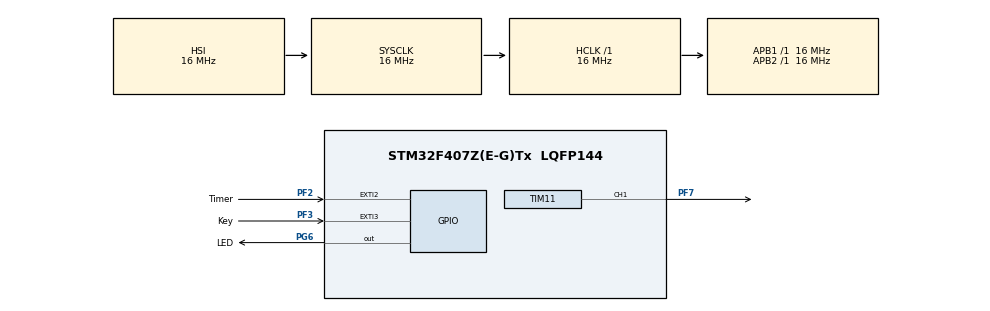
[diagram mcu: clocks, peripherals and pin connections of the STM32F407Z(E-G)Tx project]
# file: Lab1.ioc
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Mcu.Family=STM32F4
Mcu.Name=STM32F407Z(E-G)Tx
Mcu.Package=LQFP144
NVIC.EXTI2_IRQn=true\:0\:0\:false\:false\:true\:true\:true\:true
NVIC.EXTI3_IRQn=true\:0\:0\:false\:false\:true\:true\:true\:true
NVIC.PriorityGroup=NVIC_PRIORITYGROUP_4
NVIC.TIM6_DAC_IRQn=true\:0\:0\:false\:false\:true\:true\:true\:true
PF2.GPIO_Label=Timer
PF2.GPIO_ModeDefaultEXTI=GPIO_MODE_IT_RISING_FALLING
PF2.Signal=GPXTI2
PF3.GPIO_Label=Key
PF3.GPIO_ModeDefaultEXTI=GPIO_MODE_IT_RISING_FALLING
PF3.Signal=GPXTI3
PF7.Signal=S_TIM11_CH1
PG6.GPIO_Label=LED
PG6.Signal=GPIO_Output
ProjectManager.HeapSize=0x200
ProjectManager.StackSize=0x400
ProjectManager.TargetToolchain=STM32CubeIDE
RCC.48MHZClocksFreq_Value=32000000
RCC.AHBFreq_Value=16000000
RCC.APB1Freq_Value=16000000
RCC.APB1TimFreq_Value=16000000
RCC.APB2Freq_Value=16000000
RCC.APB2TimFreq_Value=16000000
RCC.CortexFreq_Value=16000000
RCC.HCLKFreq_Value=16000000
RCC.HSE_VALUE=25000000
RCC.HSI_VALUE=16000000
RCC.LSE_VALUE=32768
RCC.PLLM=8
RCC.PLLN=64
RCC.SYSCLKFreq_VALUE=16000000
RCC.VCOOutputFreq_Value=128000000
SH.S_TIM11_CH1.0=TIM11_CH1,PWM Generation1 CH1
TIM1.Period=0xFFFF
TIM1.Prescaler=15999
TIM11.Channel=TIM_CHANNEL_1
TIM11.Period=100
TIM11.Prescaler=359
TIM11.Pulse=0
TIM6.Period=999
TIM6.Prescaler=15999
TIM6.TIM_MasterOutputTrigger=TIM_TRGO_UPDATE
VP_TIM11_VS_ClockSourceINT.Mode=Enable_Timer
VP_TIM1_VS_ClockSourceINT.Mode=Internal
VP_TIM6_VS_ClockSourceINT.Mode=Enable_Timer
board=custom

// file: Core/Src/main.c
/* USER CODE BEGIN Header */
/**
  ******************************************************************************
  * @file           : main.c
  * @brief          : Main program body
  ******************************************************************************
  * @attention
  *
  * Copyright (c) 2023 STMicroelectronics.
  * All rights reserved.
  *
  * This software is licensed under terms that can be found in the LICENSE file
  * in the root directory of this software component.
  * If no LICENSE file comes with this software, it is provided AS-IS.
  *
  ******************************************************************************
  */
/* USER CODE END Header */
#include "main.h"

 TIM_HandleTypeDef htim1;
TIM_HandleTypeDef htim6;
TIM_HandleTypeDef htim11;

void SystemClock_Config(void);
static void MX_GPIO_Init(void);
static void MX_TIM1_Init(void);
static void MX_TIM6_Init(void);
static void MX_TIM11_Init(void);

/* USER CODE BEGIN 0 */
uint16_t period = 0;
uint16_t temp = 0;
/* USER CODE END 0 */

int main(void)
{

  /* MCU Configuration--------------------------------------------------------*/

  /* Reset of all peripherals, Initializes the Flash interface and the Systick. */
  HAL_Init();

  /* Configure the system clock */
  SystemClock_Config();

  /* Initialize all configured peripherals */
  MX_GPIO_Init();
  MX_TIM1_Init();
  MX_TIM6_Init();
  MX_TIM11_Init();
  /* USER CODE BEGIN 2 */
  //HAL_TIM_Base_Start_IT(&htim6);
  HAL_TIM_PWM_Start(&htim11, TIM_CHANNEL_1);
  TIM11->CCR1 = 50;
  /* USER CODE END 2 */

  /* Infinite loop */
  while (1)
  {

  }
}

void SystemClock_Config(void)
{
  RCC_OscInitTypeDef RCC_OscInitStruct = {0};
  RCC_ClkInitTypeDef RCC_ClkInitStruct = {0};

  /** Configure the main internal regulator output voltage
  */
  __HAL_RCC_PWR_CLK_ENABLE();
  __HAL_PWR_VOLTAGESCALING_CONFIG(PWR_REGULATOR_VOLTAGE_SCALE1);

  /** Initializes the RCC Oscillators according to the specified parameters
  * in the RCC_OscInitTypeDef structure.
  */
  RCC_OscInitStruct.OscillatorType = RCC_OSCILLATORTYPE_HSI;
  RCC_OscInitStruct.HSIState = RCC_HSI_ON;
  RCC_OscInitStruct.HSICalibrationValue = RCC_HSICALIBRATION_DEFAULT;
  RCC_OscInitStruct.PLL.PLLState = RCC_PLL_NONE;
  if (HAL_RCC_OscConfig(&RCC_OscInitStruct) != HAL_OK)
  {
    Error_Handler();
  }

  /** Initializes the CPU, AHB and APB buses clocks
  */
  RCC_ClkInitStruct.ClockType = RCC_CLOCKTYPE_HCLK|RCC_CLOCKTYPE_SYSCLK
                              |RCC_CLOCKTYPE_PCLK1|RCC_CLOCKTYPE_PCLK2;
  RCC_ClkInitStruct.SYSCLKSource = RCC_SYSCLKSOURCE_HSI;
  RCC_ClkInitStruct.AHBCLKDivider = RCC_SYSCLK_DIV1;
  RCC_ClkInitStruct.APB1CLKDivider = RCC_HCLK_DIV1;
  RCC_ClkInitStruct.APB2CLKDivider = RCC_HCLK_DIV1;

  if (HAL_RCC_ClockConfig(&RCC_ClkInitStruct, FLASH_LATENCY_0) != HAL_OK)
  {
    Error_Handler();
  }
}

static void MX_TIM1_Init(void)
{

  TIM_ClockConfigTypeDef sClockSourceConfig = {0};
  TIM_MasterConfigTypeDef sMasterConfig = {0};

  htim1.Instance = TIM1;
  htim1.Init.Prescaler = 15999;
  htim1.Init.CounterMode = TIM_COUNTERMODE_UP;
  htim1.Init.Period = 0xFFFF;
  htim1.Init.ClockDivision = TIM_CLOCKDIVISION_DIV1;
  htim1.Init.RepetitionCounter = 0;
  htim1.Init.AutoReloadPreload = TIM_AUTORELOAD_PRELOAD_DISABLE;
  if (HAL_TIM_Base_Init(&htim1) != HAL_OK)
  {
    Error_Handler();
  }
  sClockSourceConfig.ClockSource = TIM_CLOCKSOURCE_INTERNAL;
  if (HAL_TIM_ConfigClockSource(&htim1, &sClockSourceConfig) != HAL_OK)
  {
    Error_Handler();
  }
  sMasterConfig.MasterOutputTrigger = TIM_TRGO_RESET;
  sMasterConfig.MasterSlaveMode = TIM_MASTERSLAVEMODE_DISABLE;
  if (HAL_TIMEx_MasterConfigSynchronization(&htim1, &sMasterConfig) != HAL_OK)
  {
    Error_Handler();
  }

}

static void MX_TIM6_Init(void)
{

  TIM_MasterConfigTypeDef sMasterConfig = {0};

  htim6.Instance = TIM6;
  htim6.Init.Prescaler = 15999;
  htim6.Init.CounterMode = TIM_COUNTERMODE_UP;
  htim6.Init.Period = 999;
  htim6.Init.AutoReloadPreload = TIM_AUTORELOAD_PRELOAD_DISABLE;
  if (HAL_TIM_Base_Init(&htim6) != HAL_OK)
  {
    Error_Handler();
  }
  sMasterConfig.MasterOutputTrigger = TIM_TRGO_UPDATE;
  sMasterConfig.MasterSlaveMode = TIM_MASTERSLAVEMODE_DISABLE;
  if (HAL_TIMEx_MasterConfigSynchronization(&htim6, &sMasterConfig) != HAL_OK)
  {
    Error_Handler();
  }

}

static void MX_TIM11_Init(void)
{

  TIM_OC_InitTypeDef sConfigOC = {0};

  htim11.Instance = TIM11;
  htim11.Init.Prescaler = 359;
  htim11.Init.CounterMode = TIM_COUNTERMODE_UP;
  htim11.Init.Period = 100;
  htim11.Init.ClockDivision = TIM_CLOCKDIVISION_DIV1;
  htim11.Init.AutoReloadPreload = TIM_AUTORELOAD_PRELOAD_DISABLE;
  if (HAL_TIM_Base_Init(&htim11) != HAL_OK)
  {
    Error_Handler();
  }
  if (HAL_TIM_PWM_Init(&htim11) != HAL_OK)
  {
    Error_Handler();
  }
  sConfigOC.OCMode = TIM_OCMODE_PWM1;
  sConfigOC.Pulse = 0;
  sConfigOC.OCPolarity = TIM_OCPOLARITY_HIGH;
  sConfigOC.OCFastMode = TIM_OCFAST_DISABLE;
  if (HAL_TIM_PWM_ConfigChannel(&htim11, &sConfigOC, TIM_CHANNEL_1) != HAL_OK)
  {
    Error_Handler();
  }
  HAL_TIM_MspPostInit(&htim11);

}

static void MX_GPIO_Init(void)
{
  GPIO_InitTypeDef GPIO_InitStruct = {0};

  /* GPIO Ports Clock Enable */
  __HAL_RCC_GPIOF_CLK_ENABLE();
  __HAL_RCC_GPIOG_CLK_ENABLE();

  /*Configure GPIO pin Output Level */
  HAL_GPIO_WritePin(LED_GPIO_Port, LED_Pin, GPIO_PIN_RESET);

  /*Configure GPIO pins : Timer_Pin Key_Pin */
  GPIO_InitStruct.Pin = Timer_Pin|Key_Pin;
  GPIO_InitStruct.Mode = GPIO_MODE_IT_RISING_FALLING;
  GPIO_InitStruct.Pull = GPIO_NOPULL;
  HAL_GPIO_Init(GPIOF, &GPIO_InitStruct);

  /*Configure GPIO pin : LED_Pin */
  GPIO_InitStruct.Pin = LED_Pin;
  GPIO_InitStruct.Mode = GPIO_MODE_OUTPUT_PP;
  GPIO_InitStruct.Pull = GPIO_NOPULL;
  GPIO_InitStruct.Speed = GPIO_SPEED_FREQ_LOW;
  HAL_GPIO_Init(LED_GPIO_Port, &GPIO_InitStruct);

  /* EXTI interrupt init*/
  HAL_NVIC_SetPriority(EXTI2_IRQn, 0, 0);
  HAL_NVIC_EnableIRQ(EXTI2_IRQn);

  HAL_NVIC_SetPriority(EXTI3_IRQn, 0, 0);
  HAL_NVIC_EnableIRQ(EXTI3_IRQn);

}

/* USER CODE BEGIN 4 */
void HAL_TIM_PeriodElapsedCallback(TIM_HandleTypeDef *htim){
	if (htim->Instance == TIM6){
		HAL_GPIO_TogglePin(LED_GPIO_Port, LED_Pin);
	}
}

void HAL_GPIO_EXTI_Callback(uint16_t GPIO_Pin)
{

	if (GPIO_Pin == Timer_Pin){
		if (HAL_GPIO_ReadPin(GPIOF, Timer_Pin) == GPIO_PIN_SET){
			HAL_TIM_Base_Start(&htim1);
		}
		else{
			period = __HAL_TIM_GetCounter(&htim1);
			__HAL_TIM_SetCounter(&htim1, 0);
			HAL_TIM_Base_Stop(&htim1);
		}
	}

}
/* USER CODE END 4 */

void Error_Handler(void)
{
  __disable_irq();
  while (1)
  {
  }
}
